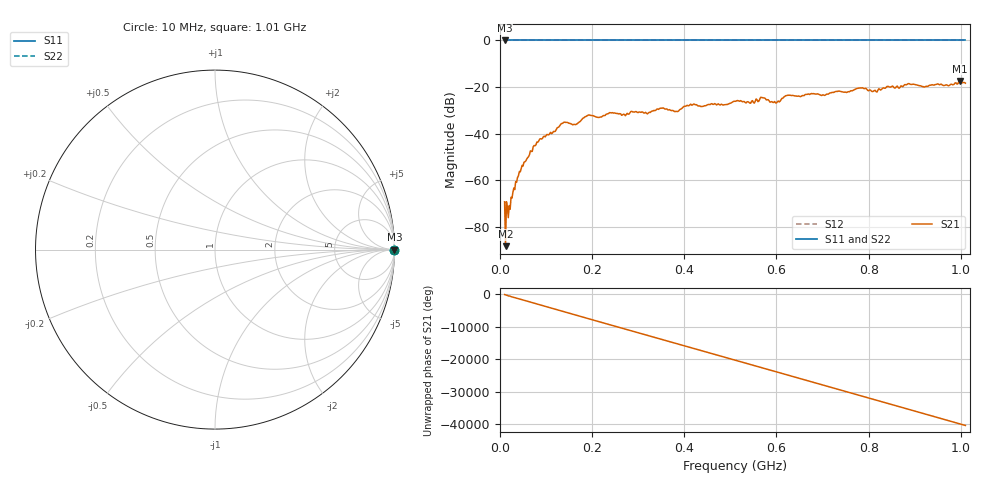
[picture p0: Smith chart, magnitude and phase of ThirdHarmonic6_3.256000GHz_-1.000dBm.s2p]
! 8/17/2025 10:02:10 AM
! C:\ANRITSUVNA\TEMP\TEMP.S2P
! CHANNEL.1
! TR.MEASUREMENT
! RAW.DATA
! RF.CORRECTION.OFF
! AVERAGING.OFF
! IF.BANDWIDTH: 5KHZ
! SWEEPTYPE:  FREQ.SWEEP(Linear)
! Reference Plane Port Info
! PORT:  PORT1  PORT2
! DISTANCE:  0  m  0  m
! TIME:  0  s  0  s
! PHASE.OFFSET:  0  deg.  0  deg.
! LOSS:  0  dB  0  dB
! REF.LOSS:  0  dB  0  dB
! REF.FREQ:  0  Hz  0  Hz
! Power Info
! POWER:  -20  dBm  -20  dBm
! EFF.POWER:  -20  dBm  -20  dBm
! SOURCE.ATTEN:  0  dB  0  dB
! TEST.ATTEN:  0  dB  0  dB
# GHZ S RI R 50.0
! FREQ.GHZ  S11RE  S11IM  S21RE  S21IM  S12RE  S12IM  S22RE  S22IM
!; PortSelection: Port_12
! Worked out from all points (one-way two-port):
!   501 points, 10 MHz to 1.01 GHz, reference 50 ohm
!   highest |S21| = -17.39 dB at 998 MHz (marker M1); lowest = -88.4 dB at 12 MHz (marker M2)
!   lowest |S11| = 0.0 dB at 10 MHz (marker M3)
!   |S11| at or under -10 dB: nowhere
!   |S22| runs from 0.0 to 0.0 dB; largest |S21 - S12| = 1.1
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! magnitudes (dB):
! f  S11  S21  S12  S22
! 10 MHz  0.0  -69.4  0.0  0.0
! 12 MHz  0.0  -88.4  0.0  0.0
! 16 MHz  0.0  -71.8  0.0  0.0
! 44 MHz  0.0  -56.5  0.0  0.0
! 84 MHz  0.0  -43.3  0.0  0.0
! 136 MHz  0.0  -35.6  0.0  0.0
! 162 MHz  0.0  -36.1  0.0  0.0
! 178 MHz  0.0  -34.0  0.0  0.0
! 192 MHz  0.0  -32.0  0.0  0.0
! 344 MHz  0.0  -29.6  0.0  0.0
! 382 MHz  0.0  -30.5  0.0  0.0
! 416 MHz  0.0  -27.8  0.0  0.0
! 510 MHz  0.0  -26.2  0.0  0.0
! 570 MHz  0.0  -24.6  0.0  0.0
! 596 MHz  0.0  -26.3  0.0  0.0
! 624 MHz  0.0  -23.6  0.0  0.0
! 678 MHz  0.0  -22.9  0.0  0.0
! 782 MHz  0.0  -20.4  0.0  0.0
! 814 MHz  0.0  -21.4  0.0  0.0
! 844 MHz  0.0  -19.9  0.0  0.0
! 998 MHz  0.0  -17.4  0.0  0.0
! 1.01 GHz  0.0  -18.4  0.0  0.0
